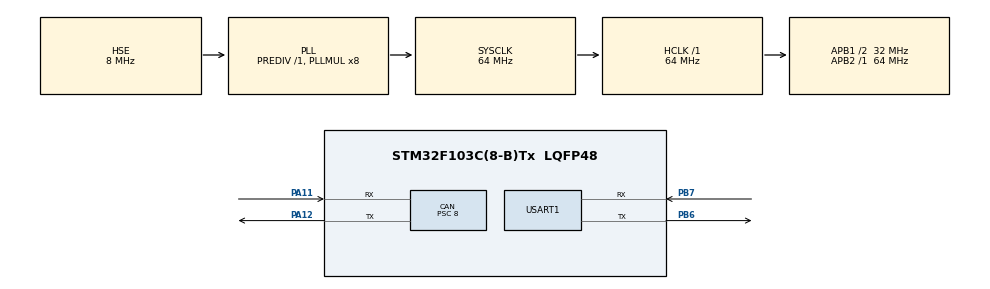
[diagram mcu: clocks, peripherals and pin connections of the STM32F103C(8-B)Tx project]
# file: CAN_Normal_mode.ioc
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CAN.ABOM=ENABLE
CAN.BS1=CAN_BS1_11TQ
CAN.BS2=CAN_BS2_4TQ
CAN.CalculateBaudRate=250000
CAN.CalculateTimeBit=4000
CAN.CalculateTimeQuantum=250.0
CAN.NART=DISABLE
CAN.Prescaler=8
CAN.TXFP=ENABLE
Mcu.Family=STM32F1
Mcu.Name=STM32F103C(8-B)Tx
Mcu.Package=LQFP48
NVIC.CAN1_SCE_IRQn=true\:0\:0\:false\:false\:true\:true\:true\:true
NVIC.PriorityGroup=NVIC_PRIORITYGROUP_4
NVIC.USB_LP_CAN1_RX0_IRQn=true\:0\:0\:false\:false\:true\:true\:true\:true
PA11.Mode=CAN_Activate
PA11.Signal=CAN_RX
PA12.Mode=CAN_Activate
PA12.Signal=CAN_TX
PB6.Mode=Asynchronous
PB6.Signal=USART1_TX
PB7.Mode=Asynchronous
PB7.Signal=USART1_RX
PD0-OSC_IN.Mode=HSE-External-Oscillator
PD0-OSC_IN.Signal=RCC_OSC_IN
PD1-OSC_OUT.Mode=HSE-External-Oscillator
PD1-OSC_OUT.Signal=RCC_OSC_OUT
ProjectManager.HeapSize=0x200
ProjectManager.StackSize=0x400
ProjectManager.TargetToolchain=STM32CubeIDE
RCC.AHBFreq_Value=64000000
RCC.APB1CLKDivider=RCC_HCLK_DIV2
RCC.APB1Freq_Value=32000000
RCC.APB1TimFreq_Value=64000000
RCC.APB2Freq_Value=64000000
RCC.APB2TimFreq_Value=64000000
RCC.HCLKFreq_Value=64000000
RCC.PLLMUL=RCC_PLL_MUL8
RCC.PLLSourceVirtual=RCC_PLLSOURCE_HSE
RCC.SYSCLKFreq_VALUE=64000000
RCC.SYSCLKSource=RCC_SYSCLKSOURCE_PLLCLK
RCC.USBFreq_Value=64000000
USART1.VirtualMode=VM_ASYNC
board=custom

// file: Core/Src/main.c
/* USER CODE BEGIN Header */
/**
  ******************************************************************************
  * @file           : main.c
  * @brief          : Main program body
  ******************************************************************************
  * @attention
  *
  * Copyright (c) 2023 STMicroelectronics.
  * All rights reserved.
  *
  * This software is licensed under terms that can be found in the LICENSE file
  * in the root directory of this software component.
  * If no LICENSE file comes with this software, it is provided AS-IS.
  *
  ******************************************************************************
  */
/* USER CODE END Header */
#include "main.h"

/* USER CODE BEGIN Includes */
#include <string.h>
#include <stdio.h>
/* USER CODE END Includes */

CAN_HandleTypeDef hcan;

UART_HandleTypeDef huart1;

/* USER CODE BEGIN PV */
CAN_TxHeaderTypeDef TxHeader;
CAN_RxHeaderTypeDef RxHeader;
uint8_t TxData[8] = {"HeloHelo"};
uint8_t RxData[8] = {0,};
uint32_t TxMailbox = 0;

uint8_t trans_str[30];

/* USER CODE END PV */

void SystemClock_Config(void);
static void MX_GPIO_Init(void);
static void MX_CAN_Init(void);
static void MX_USART1_UART_Init(void);

int main(void)
{

  /* MCU Configuration--------------------------------------------------------*/

  /* Reset of all peripherals, Initializes the Flash interface and the Systick. */
  HAL_Init();

  /* Configure the system clock */
  SystemClock_Config();

  /* Initialize all configured peripherals */
  MX_GPIO_Init();
  MX_CAN_Init();
  MX_USART1_UART_Init();
  /* USER CODE BEGIN 2 */
  TxHeader.StdId = 0x0378;
  TxHeader.ExtId = 0;
  TxHeader.RTR = CAN_RTR_DATA; //CAN_RTR_REMOTE
  TxHeader.IDE = CAN_ID_STD;   // CAN_ID_EXT
  TxHeader.DLC = 8;
  TxHeader.TransmitGlobalTime = 0;

  HAL_CAN_Start(&hcan);
  HAL_CAN_ActivateNotification(&hcan, CAN_IT_RX_FIFO0_MSG_PENDING | CAN_IT_ERROR | CAN_IT_BUSOFF | CAN_IT_LAST_ERROR_CODE);
  /* USER CODE END 2 */

  /* Infinite loop */
  while (1)
  {

    /* USER CODE BEGIN 3 */
      while(HAL_CAN_GetTxMailboxesFreeLevel(&hcan) == 0);

      if(HAL_CAN_AddTxMessage(&hcan, &TxHeader, TxData, &TxMailbox) != HAL_OK)
      {
              HAL_UART_Transmit(&huart1, (uint8_t*)"ER SEND\n", 8, 100);
      }

      HAL_Delay(500);
  }
  /* USER CODE END 3 */
}

void SystemClock_Config(void)
{
  RCC_OscInitTypeDef RCC_OscInitStruct = {0};
  RCC_ClkInitTypeDef RCC_ClkInitStruct = {0};

  /** Initializes the RCC Oscillators according to the specified parameters
  * in the RCC_OscInitTypeDef structure.
  */
  RCC_OscInitStruct.OscillatorType = RCC_OSCILLATORTYPE_HSE;
  RCC_OscInitStruct.HSEState = RCC_HSE_ON;
  RCC_OscInitStruct.HSEPredivValue = RCC_HSE_PREDIV_DIV1;
  RCC_OscInitStruct.HSIState = RCC_HSI_ON;
  RCC_OscInitStruct.PLL.PLLState = RCC_PLL_ON;
  RCC_OscInitStruct.PLL.PLLSource = RCC_PLLSOURCE_HSE;
  RCC_OscInitStruct.PLL.PLLMUL = RCC_PLL_MUL8;
  if (HAL_RCC_OscConfig(&RCC_OscInitStruct) != HAL_OK)
  {
    Error_Handler();
  }

  /** Initializes the CPU, AHB and APB buses clocks
  */
  RCC_ClkInitStruct.ClockType = RCC_CLOCKTYPE_HCLK|RCC_CLOCKTYPE_SYSCLK
                              |RCC_CLOCKTYPE_PCLK1|RCC_CLOCKTYPE_PCLK2;
  RCC_ClkInitStruct.SYSCLKSource = RCC_SYSCLKSOURCE_PLLCLK;
  RCC_ClkInitStruct.AHBCLKDivider = RCC_SYSCLK_DIV1;
  RCC_ClkInitStruct.APB1CLKDivider = RCC_HCLK_DIV2;
  RCC_ClkInitStruct.APB2CLKDivider = RCC_HCLK_DIV1;

  if (HAL_RCC_ClockConfig(&RCC_ClkInitStruct, FLASH_LATENCY_2) != HAL_OK)
  {
    Error_Handler();
  }
}

static void MX_CAN_Init(void)
{

  /* USER CODE BEGIN CAN_Init 0 */
	CAN_FilterTypeDef  sFilterConfig;
  /* USER CODE END CAN_Init 0 */

  hcan.Instance = CAN1;
  hcan.Init.Prescaler = 8;
  hcan.Init.Mode = CAN_MODE_NORMAL;
  hcan.Init.SyncJumpWidth = CAN_SJW_1TQ;
  hcan.Init.TimeSeg1 = CAN_BS1_11TQ;
  hcan.Init.TimeSeg2 = CAN_BS2_4TQ;
  hcan.Init.TimeTriggeredMode = DISABLE;
  hcan.Init.AutoBusOff = ENABLE;
  hcan.Init.AutoWakeUp = DISABLE;
  hcan.Init.AutoRetransmission = DISABLE;
  hcan.Init.ReceiveFifoLocked = DISABLE;
  hcan.Init.TransmitFifoPriority = ENABLE;
  if (HAL_CAN_Init(&hcan) != HAL_OK)
  {
    Error_Handler();
  }
  /* USER CODE BEGIN CAN_Init 2 */
  sFilterConfig.FilterBank = 0;
  sFilterConfig.FilterMode = CAN_FILTERMODE_IDMASK;
  sFilterConfig.FilterScale = CAN_FILTERSCALE_32BIT;
  sFilterConfig.FilterIdHigh = 0x0000;
  sFilterConfig.FilterIdLow = 0x0000;
  sFilterConfig.FilterMaskIdHigh = 0x0000;
  sFilterConfig.FilterMaskIdLow = 0x0000;
  sFilterConfig.FilterFIFOAssignment = CAN_RX_FIFO0;
  sFilterConfig.FilterActivation = ENABLE;
  //sFilterConfig.SlaveStartFilterBank = 14;

  if(HAL_CAN_ConfigFilter(&hcan, &sFilterConfig) != HAL_OK)
  {
  Error_Handler();
  }
  /* USER CODE END CAN_Init 2 */

}

static void MX_USART1_UART_Init(void)
{

  huart1.Instance = USART1;
  huart1.Init.BaudRate = 115200;
  huart1.Init.WordLength = UART_WORDLENGTH_8B;
  huart1.Init.StopBits = UART_STOPBITS_1;
  huart1.Init.Parity = UART_PARITY_NONE;
  huart1.Init.Mode = UART_MODE_TX_RX;
  huart1.Init.HwFlowCtl = UART_HWCONTROL_NONE;
  huart1.Init.OverSampling = UART_OVERSAMPLING_16;
  if (HAL_UART_Init(&huart1) != HAL_OK)
  {
    Error_Handler();
  }

}

static void MX_GPIO_Init(void)
{

  /* GPIO Ports Clock Enable */
  __HAL_RCC_GPIOD_CLK_ENABLE();
  __HAL_RCC_GPIOA_CLK_ENABLE();
  __HAL_RCC_GPIOB_CLK_ENABLE();

}

/* USER CODE BEGIN 4 */

void HAL_CAN_RxFifo0MsgPendingCallback(CAN_HandleTypeDef *hcan)
{
    if(HAL_CAN_GetRxMessage(hcan, CAN_RX_FIFO0, &RxHeader, RxData) == HAL_OK)
    {
        HAL_GPIO_TogglePin(GPIOC, GPIO_PIN_13);
    }
}

void HAL_CAN_ErrorCallback(CAN_HandleTypeDef *hcan)
{
    uint32_t er = HAL_CAN_GetError(hcan);
    sprintf((char *)trans_str,"ER CAN %lu %08lX\n\r", er, er);
    HAL_UART_Transmit(&huart1, trans_str, strlen((char *)trans_str), 100);
    HAL_CAN_ResetError(hcan);
}

/* USER CODE END 4 */

void Error_Handler(void)
{
  __disable_irq();
  while (1)
  {
  }
}
